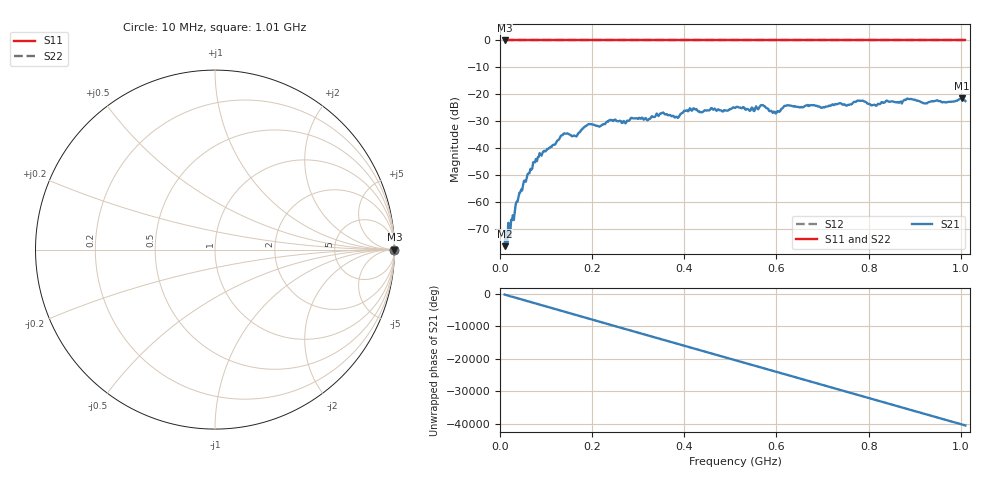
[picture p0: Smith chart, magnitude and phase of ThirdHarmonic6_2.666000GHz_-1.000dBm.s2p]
! 8/17/2025 6:10:41 AM
! C:\ANRITSUVNA\TEMP\TEMP.S2P
! CHANNEL.1
! TR.MEASUREMENT
! RAW.DATA
! RF.CORRECTION.OFF
! AVERAGING.OFF
! IF.BANDWIDTH: 5KHZ
! SWEEPTYPE:  FREQ.SWEEP(Linear)
! Reference Plane Port Info
! PORT:  PORT1  PORT2
! DISTANCE:  0  m  0  m
! TIME:  0  s  0  s
! PHASE.OFFSET:  0  deg.  0  deg.
! LOSS:  0  dB  0  dB
! REF.LOSS:  0  dB  0  dB
! REF.FREQ:  0  Hz  0  Hz
! Power Info
! POWER:  -20  dBm  -20  dBm
! EFF.POWER:  -20  dBm  -20  dBm
! SOURCE.ATTEN:  0  dB  0  dB
! TEST.ATTEN:  0  dB  0  dB
# GHZ S RI R 50.0
! FREQ.GHZ  S11RE  S11IM  S21RE  S21IM  S12RE  S12IM  S22RE  S22IM
!; PortSelection: Port_12
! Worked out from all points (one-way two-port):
!   501 points, 10 MHz to 1.01 GHz, reference 50 ohm
!   highest |S21| = -21.48 dB at 1.002 GHz (marker M1); lowest = -76.2 dB at 10 MHz (marker M2)
!   lowest |S11| = 0.0 dB at 10 MHz (marker M3)
!   |S11| at or under -10 dB: nowhere
!   |S22| runs from 0.0 to 0.0 dB; largest |S21 - S12| = 1.1
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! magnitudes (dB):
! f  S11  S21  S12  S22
! 10 MHz  0.0  -76.2  0.0  0.0
! 26 MHz  0.0  -66.6  0.0  0.0
! 42 MHz  0.0  -56.4  0.0  0.0
! 76 MHz  0.0  -45.1  0.0  0.0
! 136 MHz  0.0  -35.1  0.0  0.0
! 164 MHz  0.0  -35.4  0.0  0.0
! 178 MHz  0.0  -32.9  0.0  0.0
! 194 MHz  0.0  -30.9  0.0  0.0
! 322 MHz  0.0  -29.3  0.0  0.0
! 344 MHz  0.0  -28.0  0.0  0.0
! 384 MHz  0.0  -28.3  0.0  0.0
! 416 MHz  0.0  -26.0  0.0  0.0
! 438 MHz  0.0  -26.6  0.0  0.0
! 510 MHz  0.0  -25.0  0.0  0.0
! 540 MHz  0.0  -25.7  0.0  0.0
! 570 MHz  0.0  -23.9  0.0  0.0
! 596 MHz  0.0  -26.4  0.0  0.0
! 622 MHz  0.0  -24.1  0.0  0.0
! 678 MHz  0.0  -24.0  0.0  0.0
! 844 MHz  0.0  -22.7  0.0  0.0
! 1.002 GHz  0.0  -21.5  0.0  0.0
! 1.01 GHz  0.0  -22.4  0.0  0.0
